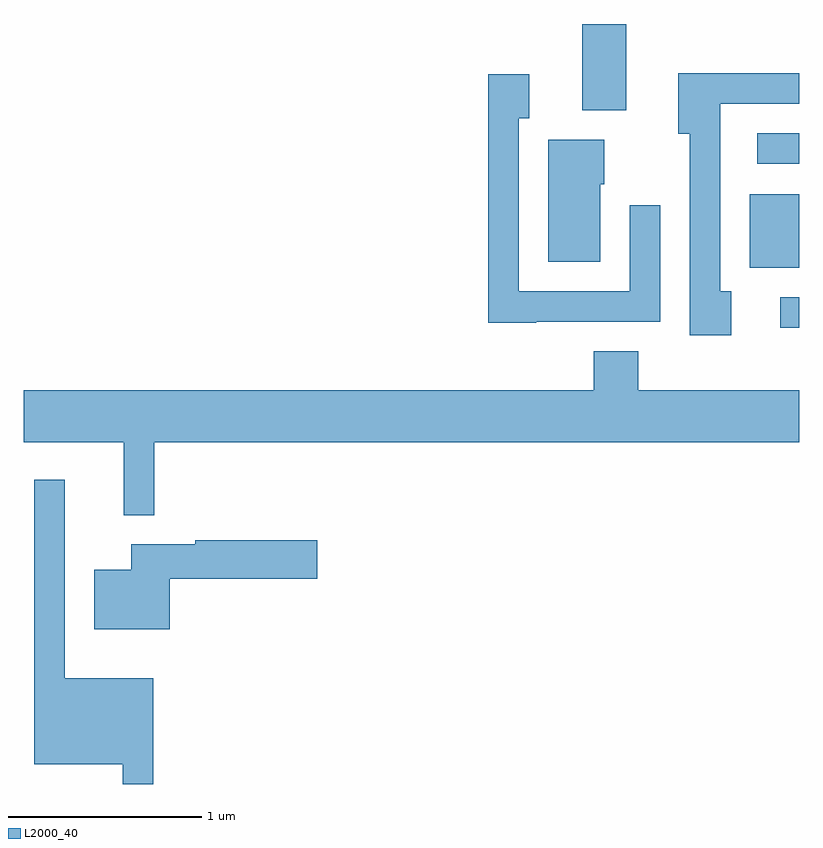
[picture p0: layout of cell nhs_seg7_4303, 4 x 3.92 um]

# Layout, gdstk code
import gdstk
lib = gdstk.Library(unit=1e-6, precision=1e-09)
def R(c, l, rs):  # rectangles x0, y0, x1, y1
    for r in rs: c.add(gdstk.rectangle(r[:2], r[2:], *l))
def P(c, l, *ps):  # polygons
    for p in ps: c.add(gdstk.Polygon(p, *l))
L2000_40 = (2000, 40)

nhs_seg7_4303 = lib.new_cell('nhs_seg7_4303')
R(nhs_seg7_4303, L2000_40, [(321.513,1712.686,321.611,1712.844), (321.356,1712.996,321.611,1713.374), (321.393,1713.531,321.611,1713.689), (320.491,1713.806,320.719,1714.252)])
P(nhs_seg7_4303, L2000_40, [(321.259,1712.874),(321.204,1712.874),(321.204,1713.841),(321.611,1713.841),(321.611,1713.999),(320.986,1713.999),(320.986,1713.686),(321.046,1713.686),(321.046,1712.646),(321.259,1712.646)],
  [(320.255,1712.716),(320.894,1712.716),(320.894,1713.318),(320.736,1713.318),(320.736,1712.874),(320.164,1712.874),(320.164,1713.766),(320.219,1713.766),(320.219,1713.994),(320.006,1713.994),(320.006,1712.711),(320.255,1712.711)],
  [(320.584,1713.426),(320.604,1713.426),(320.604,1713.654),(320.316,1713.654),(320.316,1713.026),(320.584,1713.026)],
  [(318.284,1712.096),(321.611,1712.096),(321.611,1712.364),(320.779,1712.364),(320.779,1712.564),(320.551,1712.564),(320.551,1712.364),(317.611,1712.364),(317.611,1712.096),(318.126,1712.096),(318.126,1711.718),(318.284,1711.718)],
  [(318.279,1710.879),(317.824,1710.879),(317.824,1711.903),(317.666,1711.903),(317.666,1710.436),(318.121,1710.436),(318.121,1710.333),(318.279,1710.333)],
  [(318.364,1711.391),(319.124,1711.391),(319.124,1711.589),(318.496,1711.589),(318.496,1711.569),(318.166,1711.569),(318.166,1711.439),(317.976,1711.439),(317.976,1711.131),(318.364,1711.131)])

lib.write_gds('nhs_seg7_4303.gds')
